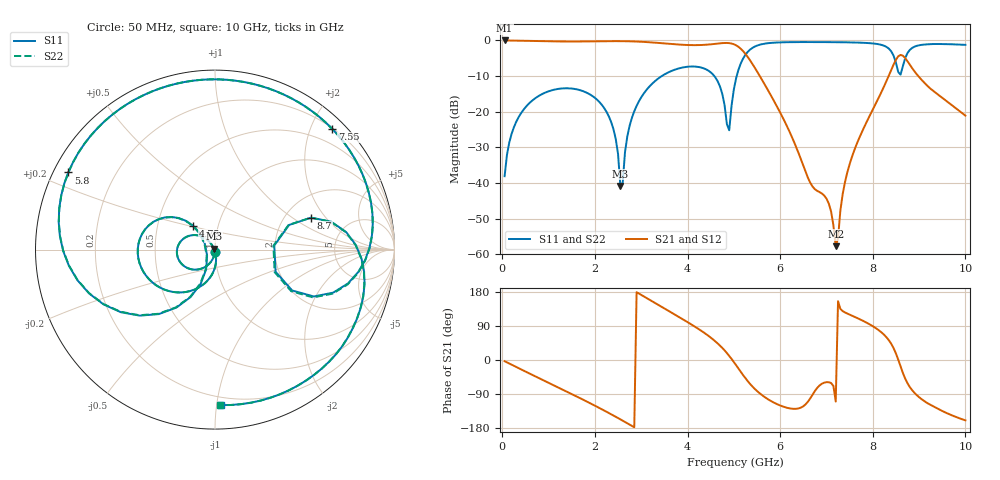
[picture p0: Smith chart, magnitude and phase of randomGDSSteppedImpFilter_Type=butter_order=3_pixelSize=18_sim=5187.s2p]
! freq	dB(S11)	phase(S11)	dB(S12)	phase(S12)
!  dB(S21)	phase(S21)	dB(S22)	phase(S22)
!S-par simulation data
#  GHz  S  DB  R 50
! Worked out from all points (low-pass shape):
!   200 points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, 50 MHz to 10 GHz, reference 50 ohm
!   highest |S21| = -0.01 dB at 50 MHz (marker M1); lowest = -57.8 dB at 7.2 GHz (marker M2)
!   |S21| within 3 dB of the highest: start of sweep to 5.2 GHz
!   lowest |S11| = -40.9 dB at 2.55 GHz (marker M3), VSWR 1.02, Z = 49.3 + j0.6 ohm
!   |S11| at or under -10 dB: start of sweep to 3.444 GHz; 4.577 GHz to 5.062 GHz (484.9 MHz wide, 10.1 % of centre)
!   |S22| runs from -41.1 to -0.5 dB; largest |S21 - S12| = 0
!   S11 on the Smith chart (normalised r, x): 50 MHz: 1.00, -0.02; 4.75 GHz: 0.76, +0.21; 5.8 GHz: 0.04, +0.25; 7.55 GHz: 0.21, +2.35; 8.7 GHz: 2.75, +1.44; 10 GHz: 0.15, -1.03
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0.05  -38.12 -92.4  -0.01 -3.1  -0.01 -3.1  -38.14 -92.5
0.55  -18.06 -123.9  -0.11 -33.5  -0.11 -33.5  -18.06 -123.9
1.75  -14.27 164.8  -0.29 -105.0  -0.29 -105.0  -14.27 164.7
2.35  -22.87 128.7  -0.20 -143.1  -0.20 -143.1  -22.88 128.3
2.55  -40.87 137.8  -0.20 -156.6  -0.20 -156.6  -41.10 134.3
2.8  -21.68 -87.5  -0.26 -174.0  -0.26 -174.0  -21.68 -87.1
3.4  -10.39 -128.0  -0.73 143.2  -0.73 143.2  -10.39 -127.8
4.15  -7.33 179.1  -1.32 88.7  -1.32 88.7  -7.33 179.2
4.75  -14.98 132.4  -0.75 31.9  -0.75 31.9  -14.96 132.9
4.9  -25.22 -143.4  -0.76 10.9  -0.76 10.9  -24.91 -144.6
5.05  -10.55 -117.2  -1.38 -13.9  -1.38 -13.9  -10.54 -117.7
5.45  -1.74 -173.6  -7.61 -76.0  -7.61 -76.0  -1.74 -173.9
5.8  -0.69 152.2  -15.43 -108.2  -15.43 -108.2  -0.69 152.1
6.7  -0.45 94.5  -41.03 -91.4  -41.03 -91.4  -0.46 94.3
7.05  -0.47 74.7  -45.79 -58.6  -45.79 -58.6  -0.48 74.5
7.2  -0.49 66.2  -57.76 -109.6  -57.76 -109.6  -0.49 66.0
7.55  -0.56 45.9  -32.71 117.0  -32.71 117.0  -0.56 45.6
8.35  -2.33 -14.3  -9.78 51.7  -9.78 51.7  -2.34 -14.8
8.55  -8.88 -20.1  -4.46 0.8  -4.46 0.8  -8.99 -20.7
8.7  -4.97 18.4  -4.95 -49.0  -4.95 -49.0  -5.00 18.4
9.1  -1.17 -21.5  -11.69 -107.4  -11.69 -107.4  -1.18 -21.7
10  -1.24 -87.8  -21.12 -159.3  -21.12 -159.3  -1.24 -88.2
